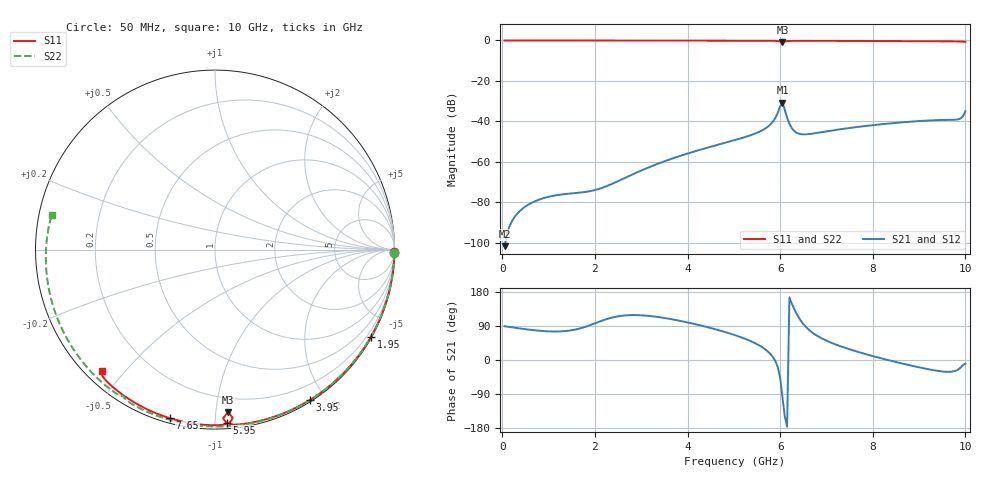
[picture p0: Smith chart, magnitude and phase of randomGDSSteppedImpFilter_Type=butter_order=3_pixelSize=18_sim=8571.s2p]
! freq	dB(S11)	phase(S11)	dB(S12)	phase(S12)
!  dB(S21)	phase(S21)	dB(S22)	phase(S22)
!S-par simulation data
#  GHz  S  DB  R 50
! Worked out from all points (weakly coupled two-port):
!   200 points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, 50 MHz to 10 GHz, reference 50 ohm
!   highest |S21| = -30.74 dB at 6.05 GHz (marker M1); lowest = -101.6 dB at 50 MHz (marker M2)
!   lowest |S11| = -0.8 dB at 6.05 GHz (marker M3), VSWR 20.66, Z = 5.25 - j53.9 ohm
!   |S11| at or under -10 dB: nowhere
!   |S22| runs from -0.6 to 0.0 dB; largest |S21 - S12| = 0
!   S11 on the Smith chart (normalised r, x): 50 MHz: open; 1.95 GHz: 0.03, -3.82; 3.95 GHz: 0.02, -1.81; 5.95 GHz: 0.04, -1.07; 7.65 GHz: 0.02, -0.77; 10 GHz: 0.05, -0.43
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0.05  -0.00 -0.8  -101.58 89.1  -101.58 89.1  -0.00 -1.1
0.65  -0.01 -9.9  -79.99 79.0  -79.99 79.0  -0.02 -14.6
1.1  -0.02 -16.7  -76.70 75.2  -76.70 75.2  -0.03 -24.5
1.75  -0.03 -26.4  -74.94 85.8  -74.94 85.8  -0.05 -38.6
1.95  -0.04 -29.3  -74.15 94.4  -74.15 94.4  -0.05 -42.8
3.4  -0.07 -50.2  -60.53 112.8  -60.53 112.8  -0.10 -72.6
3.95  -0.08 -57.9  -56.20 100.5  -56.20 100.5  -0.11 -83.3
5.05  -0.11 -72.8  -49.02 64.6  -49.02 64.6  -0.16 -103.9
5.7  -0.14 -81.7  -43.16 26.1  -43.16 26.1  -0.19 -115.7
5.85  -0.18 -84.1  -39.88 6.6  -39.88 6.6  -0.21 -118.5
5.95  -0.28 -86.2  -35.66 -19.0  -35.66 -19.0  -0.23 -120.4
6  -0.52 -87.3  -32.42 -46.6  -32.42 -46.6  -0.28 -121.4
6.05  -0.84 -85.4  -30.74 -99.3  -30.74 -99.3  -0.35 -121.8
6.2  -0.25 -86.0  -41.15 165.2  -41.15 165.2  -0.25 -124.1
6.3  -0.20 -87.7  -44.63 135.4  -44.63 135.4  -0.24 -126.0
6.45  -0.19 -89.9  -46.29 103.1  -46.29 103.1  -0.25 -128.7
6.7  -0.19 -93.2  -45.99 72.0  -45.99 72.0  -0.26 -133.0
7.65  -0.24 -104.9  -42.77 22.5  -42.77 22.5  -0.34 -149.5
8.35  -0.30 -113.2  -41.02 -0.8  -41.02 -0.8  -0.40 -161.7
9.85  -0.49 -131.1  -38.94 -24.7  -38.94 -24.7  -0.60 171.0
9.95  -0.57 -132.6  -37.33 -13.1  -37.33 -13.1  -0.63 169.1
10  -0.68 -133.2  -34.91 -9.6  -34.91 -9.6  -0.65 168.2
